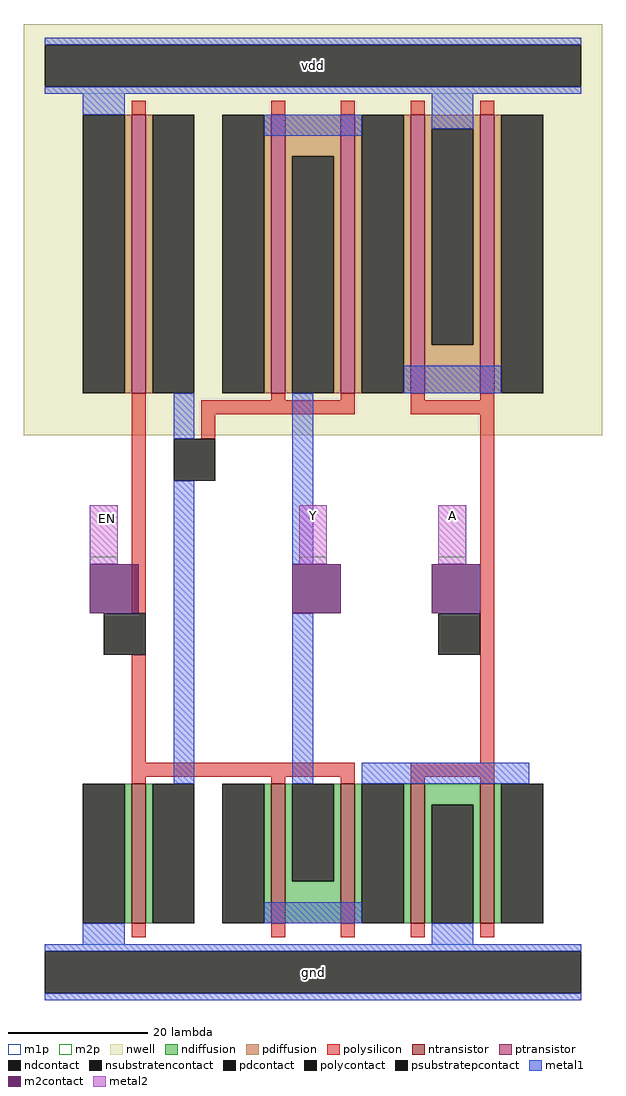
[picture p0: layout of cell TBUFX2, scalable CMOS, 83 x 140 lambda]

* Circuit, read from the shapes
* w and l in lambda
.subckt TBUFX2 A EN Y vdd gnd
M1 n1 EN gnd gnd nfet w=20 l=2
M2 Y EN n2 gnd nfet w=20 l=2 m=2
M3 gnd A n2 gnd nfet w=20 l=2 m=2
M4 n1 EN vdd vdd pfet w=40 l=2
M5 Y n1 n3 vdd pfet w=40 l=2 m=2
M6 vdd A n3 vdd pfet w=40 l=2 m=2
.ends

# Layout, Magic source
magic
tech scmos
magscale 1 2
<< nwell >>
rect -13 154 153 272
<< ntransistor >>
rect 18 14 22 54
rect 58 14 62 54
rect 78 14 82 54
rect 98 14 102 54
rect 118 14 122 54
<< ptransistor >>
rect 18 166 22 246
rect 58 166 62 246
rect 78 166 82 246
rect 98 166 102 246
rect 118 166 122 246
<< ndiffusion >>
rect 16 14 18 54
rect 22 14 24 54
rect 56 14 58 54
rect 62 26 64 54
rect 76 26 78 54
rect 62 14 78 26
rect 82 14 84 54
rect 96 14 98 54
rect 102 48 118 54
rect 102 14 104 48
rect 116 14 118 48
rect 122 14 124 54
<< pdiffusion >>
rect 16 166 18 246
rect 22 166 24 246
rect 56 166 58 246
rect 62 234 78 246
rect 62 166 64 234
rect 76 166 78 234
rect 82 166 84 246
rect 96 166 98 246
rect 102 242 118 246
rect 102 180 104 242
rect 116 180 118 242
rect 102 166 118 180
rect 122 166 124 246
<< ndcontact >>
rect 4 14 16 54
rect 24 14 36 54
rect 44 14 56 54
rect 64 26 76 54
rect 84 14 96 54
rect 104 14 116 48
rect 124 14 136 54
<< pdcontact >>
rect 4 166 16 246
rect 24 166 36 246
rect 44 166 56 246
rect 64 166 76 234
rect 84 166 96 246
rect 104 180 116 242
rect 124 166 136 246
<< psubstratepcontact >>
rect -7 -6 147 6
<< nsubstratencontact >>
rect -7 254 147 266
<< polysilicon >>
rect 18 246 22 250
rect 58 246 62 250
rect 78 246 82 250
rect 98 246 102 250
rect 118 246 122 250
rect 18 103 22 166
rect 58 164 62 166
rect 78 164 82 166
rect 38 160 82 164
rect 98 164 102 166
rect 118 164 122 166
rect 98 160 122 164
rect 38 153 42 160
rect 18 60 22 91
rect 118 60 122 160
rect 18 56 82 60
rect 18 54 22 56
rect 58 54 62 56
rect 78 54 82 56
rect 98 56 122 60
rect 98 54 102 56
rect 118 54 122 56
rect 18 10 22 14
rect 58 10 62 14
rect 78 10 82 14
rect 98 10 102 14
rect 118 10 122 14
<< polycontact >>
rect 30 141 42 153
rect 10 91 22 103
rect 106 91 118 103
<< metal1 >>
rect -7 266 147 268
rect -7 252 147 254
rect 4 246 16 252
rect 56 240 84 246
rect 104 242 116 252
rect 96 166 124 174
rect 30 153 36 166
rect 30 54 36 141
rect 64 117 70 166
rect 64 54 70 103
rect 84 54 132 60
rect 56 14 84 20
rect 4 8 16 14
rect 104 8 116 14
rect -7 6 147 8
rect -7 -8 147 -6
<< m2contact >>
rect 6 103 20 117
rect 64 103 78 117
rect 104 103 118 117
<< metal2 >>
rect 6 117 14 134
rect 66 117 74 134
rect 106 117 114 134
<< m1p >>
rect -7 252 147 268
rect -7 -8 147 8
<< m2p >>
rect 6 119 14 134
rect 66 119 74 134
rect 106 119 114 134
<< labels >>
rlabel metal1 -7 252 147 268 0 vdd
port 4 nsew power bidirectional abutment
rlabel metal1 -7 -8 147 8 0 gnd
port 5 nsew ground bidirectional abutment
rlabel metal2 11 130 11 130 3 EN
port 2 n signal input
rlabel metal2 70 131 70 131 3 Y
port 3 n signal output
rlabel metal2 110 131 110 131 7 A
port 1 n signal input
<< properties >>
string FIXED_BBOX 0 0 140 260
string LEFclass CORE
string LEFsite core
string LEFsymmetry X Y
<< end >>
